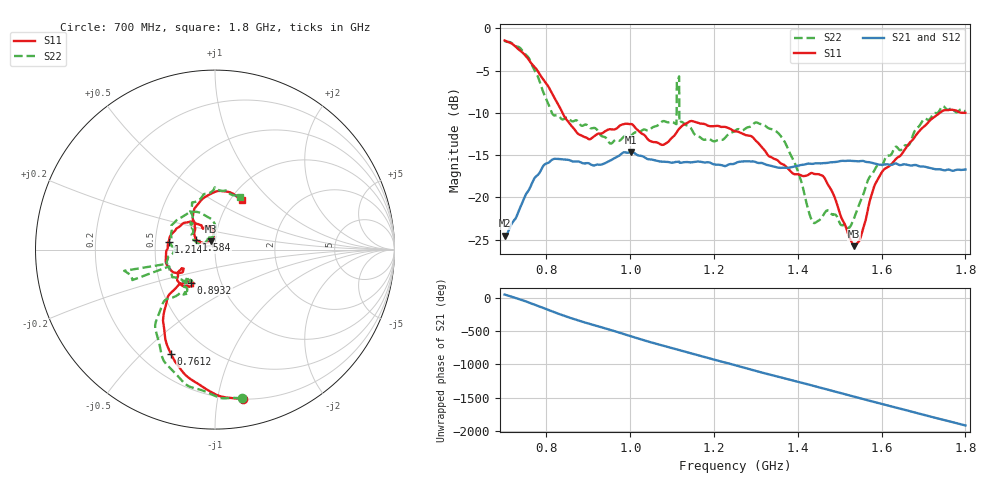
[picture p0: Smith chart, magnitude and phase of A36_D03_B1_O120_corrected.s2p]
! Created with skrf 1.9.0 (http://scikit-rf.org).
# Hz S RI R 50.0
!freq ReS11 ImS11 ReS21 ImS21 ReS12 ImS12 ReS22 ImS22
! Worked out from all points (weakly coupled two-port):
!   1601 points, 700 MHz to 1.8 GHz, reference 50 ohm
!   highest |S21| = -14.62 dB at 1.002 GHz (marker M1); lowest = -24.5 dB at 700.7 MHz (marker M2)
!   lowest |S11| = -25.8 dB at 1.535 GHz (marker M3), VSWR 1.11, Z = 47.7 + j4.5 ohm
!   |S11| at or under -10 dB: 838.2 MHz to 1.739 GHz (900.4 MHz wide, 69.9 % of centre)
!   |S22| runs from -23.6 to -1.5 dB; largest |S21 - S12| = 0.0035
!   S11 on the Smith chart (normalised r, x): 700 MHz: 0.20, -1.19; 761.2 MHz: 0.32, -0.62; 893.2 MHz: 0.72, -0.28; 1.214 GHz: 0.59, +0.06; 1.584 GHz: 0.80, +0.09; 1.8 GHz: 1.13, +0.70
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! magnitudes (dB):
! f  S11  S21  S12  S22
! 700 MHz  -1.4  -24.5  -24.3  -1.5
! 700.7 MHz  -1.5  -24.5  -24.2  -1.5
! 761.2 MHz  -4.0  -18.8  -18.7  -3.8
! 814.8 MHz  -7.9  -15.5  -15.6  -10.2
! 883.6 MHz  -12.7  -15.9  -15.8  -11.5
! 893.2 MHz  -12.9  -15.9  -16.0  -11.4
! 953 MHz  -11.9  -15.6  -15.6  -13.6
! 1.002 GHz  -11.3  -14.6  -14.7  -12.7
! 1.067 GHz  -13.6  -15.7  -15.7  -11.4
! 1.105 GHz  -12.7  -15.8  -15.8  -11.2
! 1.117 GHz  -11.9  -15.8  -15.7  -5.7
! 1.123 GHz  -11.6  -15.9  -15.8  -11.1
! 1.214 GHz  -11.6  -16.1  -16.1  -13.2
! 1.25 GHz  -12.2  -16.0  -15.9  -12.1
! 1.357 GHz  -15.9  -16.5  -16.4  -12.6
! 1.434 GHz  -17.1  -16.0  -16.0  -22.8
! 1.465 GHz  -17.8  -15.9  -15.9  -21.8
! 1.535 GHz  -25.8  -15.7  -15.7  -22.4
! 1.584 GHz  -18.5  -16.0  -16.0  -16.7
! 1.617 GHz  -16.3  -16.1  -16.1  -15.1
! 1.74 GHz  -9.9  -16.7  -16.7  -9.6
! 1.8 GHz  -10.0  -16.7  -16.7  -9.8
